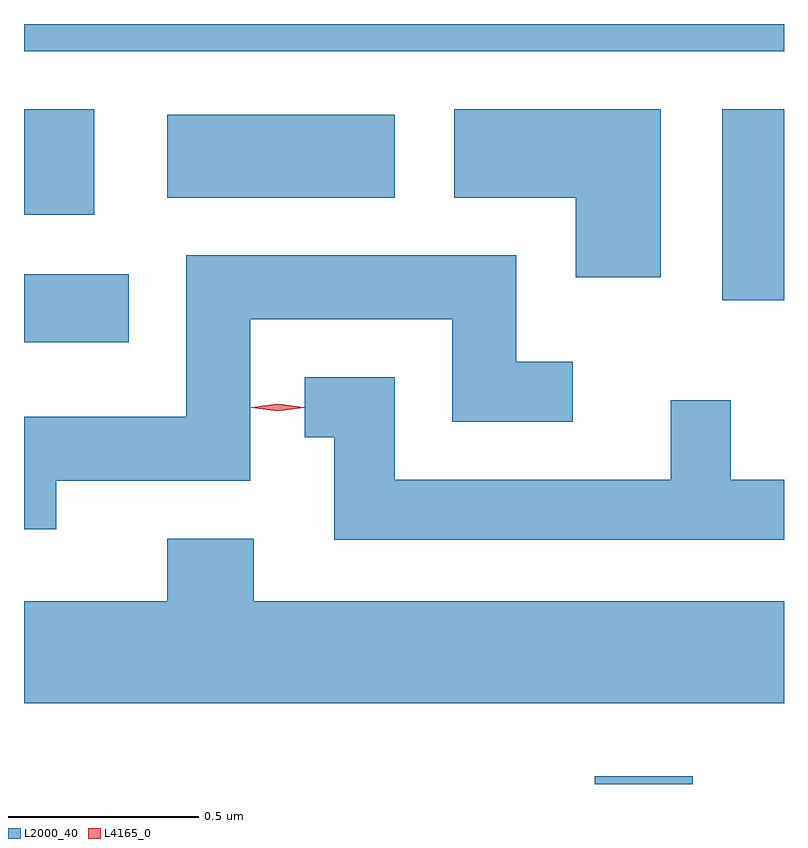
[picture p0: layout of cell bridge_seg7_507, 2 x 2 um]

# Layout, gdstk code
import gdstk
lib = gdstk.Library(unit=1e-6, precision=1e-09)
def R(c, l, rs):  # rectangles x0, y0, x1, y1
    for r in rs: c.add(gdstk.rectangle(r[:2], r[2:], *l))
def P(c, l, *ps):  # polygons
    for p in ps: c.add(gdstk.Polygon(p, *l))
L2000_40 = (2000, 40)
L4165_0 = (4165, 0)

bridge_seg7_507 = lib.new_cell('bridge_seg7_507')
R(bridge_seg7_507, L2000_40, [(1449.586,1727.423,1449.844,1727.444), (1448.084,1728.586,1448.359,1728.764), (1449.921,1728.696,1450.084,1729.199), (1448.084,1728.921,1448.269,1729.199), (1448.461,1728.966,1449.059,1729.184), (1448.084,1729.351,1450.084,1729.423)])
P(bridge_seg7_507, L2000_40, [(1449.759,1729.199),(1449.216,1729.199),(1449.216,1728.966),(1449.536,1728.966),(1449.536,1728.756),(1449.759,1728.756)],
  [(1448.169,1728.221),(1448.679,1728.221),(1448.679,1728.646),(1449.211,1728.646),(1449.211,1728.376),(1449.528,1728.376),(1449.528,1728.534),(1449.379,1728.534),(1449.379,1728.814),(1448.511,1728.814),(1448.511,1728.389),(1448.084,1728.389),(1448.084,1728.093),(1448.169,1728.093)],
  [(1450.084,1728.224),(1449.944,1728.224),(1449.944,1728.433),(1449.786,1728.433),(1449.786,1728.224),(1449.059,1728.224),(1449.059,1728.494),(1448.823,1728.494),(1448.823,1728.336),(1448.901,1728.336),(1448.901,1728.066),(1450.084,1728.066)],
  [(1450.084,1727.904),(1448.689,1727.904),(1448.689,1728.069),(1448.461,1728.069),(1448.461,1727.904),(1448.084,1727.904),(1448.084,1727.636),(1450.084,1727.636)])
P(bridge_seg7_507, L4165_0, [(1448.752,1728.404),(1448.682,1728.413),(1448.682,1728.414),(1448.682,1728.414),(1448.752,1728.424),(1448.821,1728.414),(1448.821,1728.414),(1448.821,1728.413)])

lib.write_gds('bridge_seg7_507.gds')
